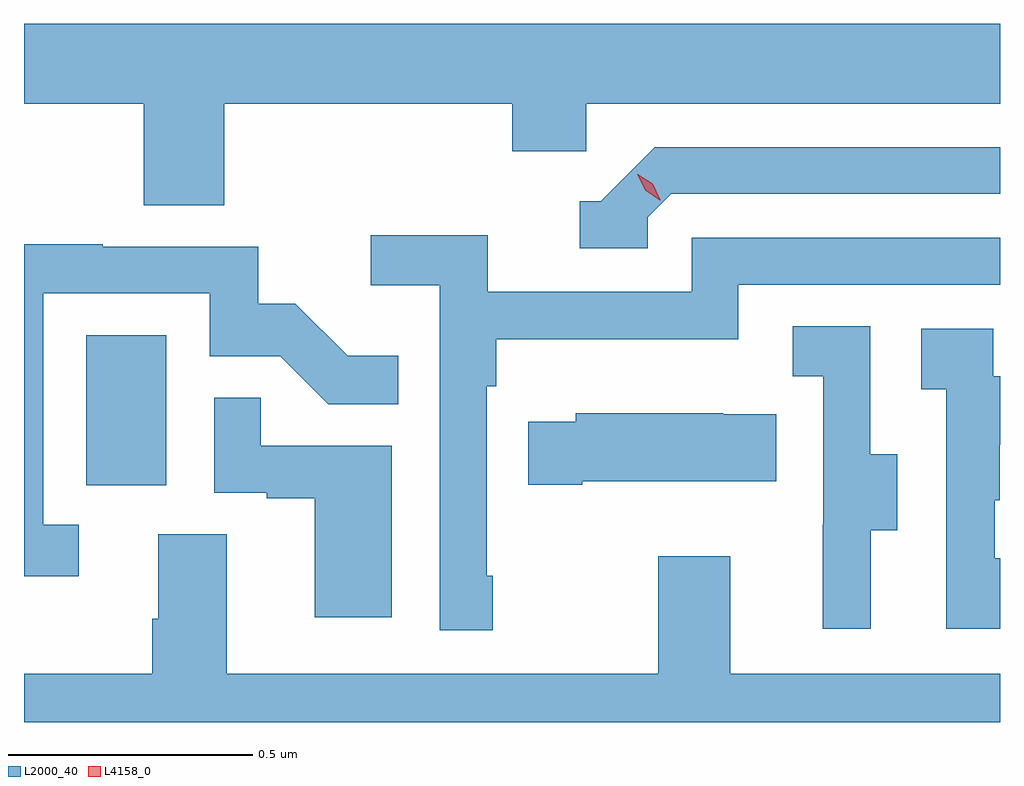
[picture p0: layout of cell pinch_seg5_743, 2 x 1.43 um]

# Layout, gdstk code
import gdstk
lib = gdstk.Library(unit=1e-6, precision=1e-09)
def R(c, l, rs):  # rectangles x0, y0, x1, y1
    for r in rs: c.add(gdstk.rectangle(r[:2], r[2:], *l))
def P(c, l, *ps):  # polygons
    for p in ps: c.add(gdstk.Polygon(p, *l))
L2000_40 = (2000, 40)
L4158_0 = (4158, 0)

pinch_seg5_743 = lib.new_cell('pinch_seg5_743')
R(pinch_seg5_743, L2000_40, [(857.96,897.27,858.124,897.577)])
P(pinch_seg5_743, L2000_40, [(858.242,898.052),(858.833,898.052),(858.833,897.954),(858.984,897.954),(858.984,898.052),(859.832,898.052),(859.832,898.216),(857.832,898.216),(857.832,898.052),(858.077,898.052),(858.077,897.844),(858.242,897.844)],
  [(859.11,897.819),(859.158,897.867),(859.832,897.867),(859.832,897.963),(859.125,897.963),(859.014,897.852),(858.971,897.852),(858.971,897.756),(859.11,897.756)],
  [(858.793,897.085),(858.78,897.085),(858.78,897.473),(858.8,897.473),(858.8,897.569),(859.296,897.569),(859.296,897.681),(859.832,897.681),(859.832,897.777),(859.2,897.777),(859.2,897.666),(858.782,897.666),(858.782,897.782),(858.543,897.782),(858.543,897.68),(858.684,897.68),(858.684,896.973),(858.793,896.973)],
  [(857.944,897.189),(857.871,897.189),(857.871,897.663),(858.213,897.663),(858.213,897.534),(858.357,897.534),(858.455,897.436),(858.599,897.436),(858.599,897.535),(858.495,897.535),(858.388,897.642),(858.312,897.642),(858.312,897.759),(857.993,897.759),(857.993,897.764),(857.832,897.764),(857.832,897.084),(857.944,897.084)],
  [(859.567,897.178),(859.621,897.178),(859.621,897.333),(859.566,897.333),(859.566,897.596),(859.407,897.596),(859.407,897.493),(859.47,897.493),(859.47,897.189),(859.469,897.189),(859.469,896.976),(859.567,896.976)],
  [(859.832,897.12),(859.821,897.12),(859.821,897.239),(859.831,897.239),(859.831,897.353),(859.832,897.353),(859.832,897.493),(859.818,897.493),(859.818,897.591),(859.671,897.591),(859.671,897.467),(859.722,897.467),(859.722,896.976),(859.832,896.976)],
  [(858.586,897.351),(858.317,897.351),(858.317,897.449),(858.222,897.449),(858.222,897.255),(858.329,897.255),(858.329,897.243),(858.428,897.243),(858.428,897),(858.586,897)],
  [(858.976,897.278),(859.373,897.278),(859.373,897.415),(859.265,897.415),(859.265,897.418),(858.963,897.418),(858.963,897.4),(858.865,897.4),(858.865,897.271),(858.976,897.271)],
  [(859.832,896.884),(859.279,896.884),(859.279,897.124),(859.132,897.124),(859.132,896.884),(858.247,896.884),(858.247,897.17),(858.107,897.17),(858.107,896.996),(858.095,896.996),(858.095,896.884),(857.832,896.884),(857.832,896.784),(859.832,896.784)])
P(pinch_seg5_743, L4158_0, [(859.135,897.854),(859.105,897.874),(859.089,897.907),(859.089,897.907),(859.09,897.907),(859.12,897.888),(859.136,897.855),(859.136,897.854)])

lib.write_gds('pinch_seg5_743.gds')
